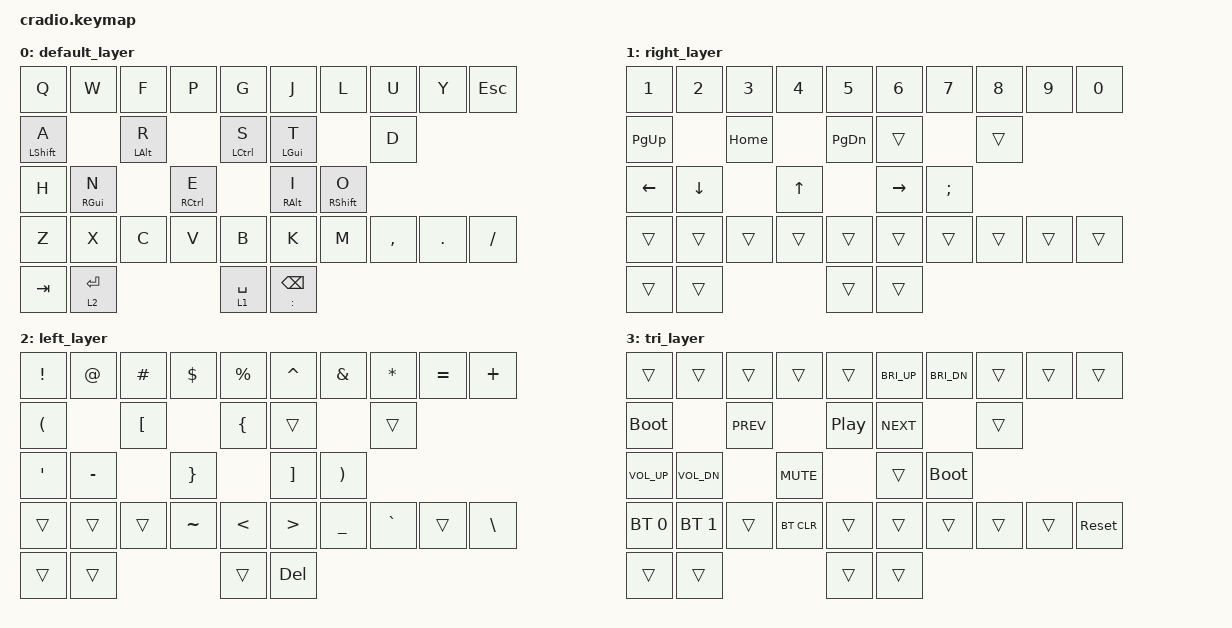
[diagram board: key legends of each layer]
// Copyright (c) 2022 The ZMK Contributors
// SPDX-License-Identifier: MIT

#include <behaviors.dtsi>
#include <dt-bindings/zmk/keys.h>
#include <dt-bindings/zmk/bt.h>

/ {
    behaviors {
        ht: hold_tap {
            compatible = "zmk,behavior-hold-tap";
            #binding-cells = <2>;
            flavor = "tap-preferred";
            tapping-term-ms = <220>;
            quick-tap-ms = <150>;
            require-prior-idle-ms = <100>;
            bindings = <&kp>, <&kp>;
        };

        bs_colon: backspace_colon {
            compatible = "zmk,behavior-hold-tap";
            #binding-cells = <2>;
            flavor = "tap-preferred";
            tapping-term-ms = <200>;
            quick-tap-ms = <150>;
            bindings = <&kp>, <&kp>;
        };
    };

    conditional_layers {
        compatible = "zmk,conditional-layers";

        tri_layer {
            if-layers = <1 2>;
            then-layer = <3>;
        };
    };

    keymap {
        compatible = "zmk,keymap";

        default_layer {
            bindings = <
                &kp Q &kp W &kp F &kp P &kp G   &kp J &kp L &kp U &kp Y &kp ESC
                &ht LSHFT A &ht LALT R &ht LCTRL S &ht LGUI T &kp D
                &kp H &ht RGUI N &ht RCTRL E &ht RALT I &ht RSHFT O
                &kp Z &kp X &kp C &kp V &kp B   &kp K &kp M &kp COMMA &kp DOT &kp FSLH
                &kp TAB &lt 2 ENTER &lt 1 SPACE &bs_colon COLON BSPC
            >;
        };

        right_layer {
            bindings = <
                &kp N1 &kp N2 &kp N3 &kp N4 &kp N5   &kp N6 &kp N7 &kp N8 &kp N9 &kp N0
                &kp PG_UP &kp HOME &kp PG_DN &trans &trans   &kp LEFT &kp DOWN &kp UP &kp RIGHT &kp SEMI
                &trans &trans &trans &trans &trans   &trans &trans &trans &trans &trans
                &trans &trans &trans &trans
            >;
        };

        left_layer {
            bindings = <
                &kp EXCL &kp AT &kp HASH &kp DLLR &kp PRCNT   &kp CARET &kp AMPS &kp ASTRK &kp EQUAL &kp PLUS
                &kp LPAR &kp LBKT &kp LBRC &trans &trans     &kp SQT &kp MINUS &kp RBRC &kp RBKT &kp RPAR
                &trans &trans &trans &kp TILDE &kp LT        &kp GT &kp UNDER &kp GRAVE &trans &kp BSLH
                &trans &trans &trans &kp DEL
            >;
        };

        tri_layer {
            bindings = <
                &trans &trans &trans &trans &trans   &kp C_BRI_UP &kp C_BRI_DN &trans &trans &trans
                &bootloader &kp C_PREV &kp C_PP &kp C_NEXT &trans   &kp C_VOL_UP &kp C_VOL_DN &kp C_MUTE &trans &bootloader
                &bt BT_SEL 0 &bt BT_SEL 1 &trans &bt BT_CLR &trans   &trans &trans &trans &trans &sys_reset
                &trans &trans &trans &trans
            >;
        };
    };
};
